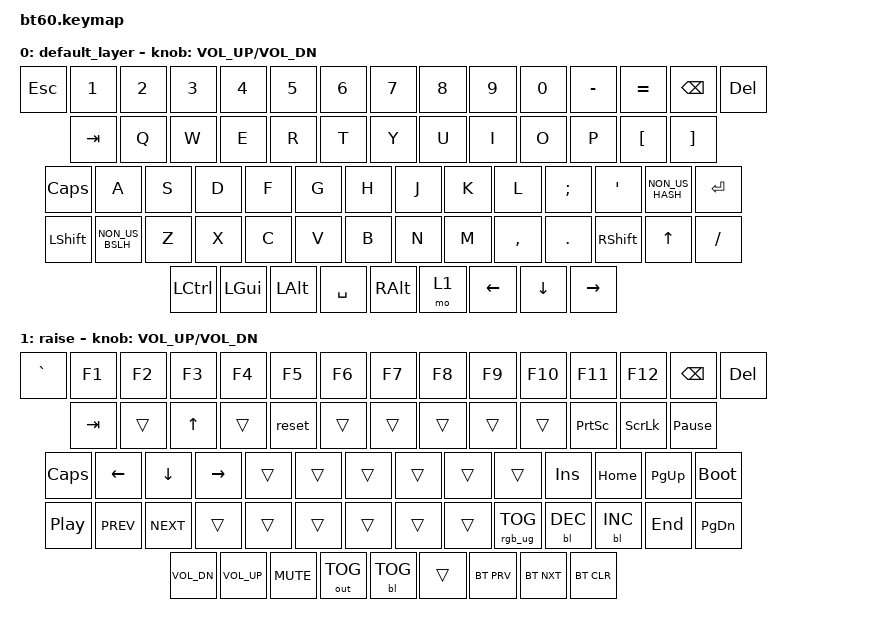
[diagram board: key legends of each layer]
#include <behaviors.dtsi>
#include <dt-bindings/zmk/keys.h>
#include <dt-bindings/zmk/bt.h>
#include <dt-bindings/zmk/rgb.h>
#include <dt-bindings/zmk/backlight.h>
#include <dt-bindings/zmk/outputs.h>

/ {
	keymap {
		compatible = "zmk,keymap";

		default_layer {
				// ------------------------------------------------------------------------------------------
				// | ESC |  1  |  2  |  3  |  4  |  5  |  6  |  7  |  8  |  9  |  0  |  -  |  =  | BKS | DE |
				// |  TAB  |  Q  |  W  |  E  |  R  |  T  |  Y  |  U  |  I  |  O  |  P  |  [  |  ]  |        |
				// |  CAPS  |  A  |  S  |  D  |  F  |  G  |  H  |  J  |  K  |  L  |  ;  |  '  |  #  | ENTER |
				// | SHIFT |  \  |  Z  |  X  |  C  |  V  |  B  |  N  |  M  |  ,  |  .  |  SHIFT  | UP |  /  |
				// |  CTL  |  WIN  |  ALT  |            SPACE               | ALT | 1 | LEFT | DOWN | RIGHT |
				// ------------------------------------------------------------------------------------------
			bindings = <

				&kp ESC  &kp N1  &kp N2  &kp N3  &kp N4  &kp N5  &kp N6  &kp N7  &kp N8  &kp N9  &kp N0  &kp MINUS  &kp EQUAL  &kp BSPC  &kp DEL
				&kp TAB  &kp Q  &kp W  &kp E  &kp R  &kp T  &kp Y  &kp U  &kp I  &kp O  &kp P  &kp LBKT  &kp RBKT
				&kp CAPS  &kp A  &kp S  &kp D  &kp F  &kp G  &kp H  &kp J  &kp K  &kp L  &kp SEMI  &kp SQT  &kp NON_US_HASH  &kp RET
				&kp LSHFT  &kp NON_US_BSLH  &kp Z  &kp X  &kp C  &kp V  &kp B  &kp N  &kp M  &kp COMMA  &kp DOT  &kp RSHFT  &kp UP  &kp FSLH
				&kp LCTRL  &kp LGUI  &kp LALT            &kp SPACE                &kp RALT  &mo 1  &kp LEFT  &kp DOWN  &kp RIGHT
			>;
			sensor-bindings = <&inc_dec_kp C_VOL_UP C_VOL_DN>;
		};
		raise {
			bindings = <
				&kp GRAVE  &kp F1  &kp F2  &kp F3  &kp F4  &kp F5  &kp F6  &kp F7  &kp F8  &kp F9  &kp F10  &kp F11  &kp F12  &kp BSPC  &kp DEL
				&kp TAB  &trans  &kp UP  &trans  &reset  &trans  &trans  &trans  &trans  &trans  &kp PSCRN  &kp SLCK  &kp PAUSE_BREAK
				&kp CAPS  &kp LEFT  &kp DOWN  &kp RIGHT  &trans  &trans  &trans  &trans  &trans  &trans  &kp INS  &kp HOME  &kp PG_UP  &bootloader
				&kp C_PP &kp C_PREV  &kp C_NEXT  &trans  &trans  &trans  &trans  &trans  &trans  &rgb_ug RGB_TOG  &bl BL_DEC  &bl BL_INC  &kp END  &kp PG_DN
				&kp C_VOL_DN  &kp C_VOL_UP  &kp C_MUTE                   &out OUT_TOG                 &bl BL_TOG  &trans  &bt BT_PRV  &bt BT_NXT  &bt BT_CLR
			>;
			sensor-bindings = <&inc_dec_kp C_VOL_UP C_VOL_DN>;
		};
	};
};
